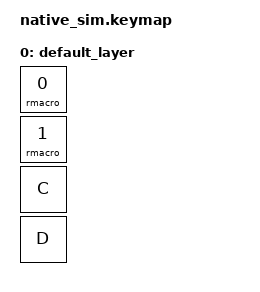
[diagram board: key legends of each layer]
#include <dt-bindings/zmk/keys.h>
#include <behaviors.dtsi>
#include <behaviors/runtime_macro.dtsi>
#include <dt-bindings/zmk/kscan_mock.h>

/ {
	runtime_macro_defaults {
		rmacro_default_1 {
			compatible = "cormoran,runtime-macro-default";
			slot = <1>;
			display-name = "DT Default";
			text = "hi";
		};
	};

	keymap {
		compatible = "zmk,keymap";

		default_layer {
			bindings = <
			&rmacro 0
			&rmacro 1
			&kp C
			&kp D
			>;
		};
	};
};

&kscan {
	events = <
	ZMK_MOCK_PRESS(0,0,10)
	ZMK_MOCK_RELEASE(0,0,10)
	ZMK_MOCK_PRESS(0,1,10)
	ZMK_MOCK_RELEASE(0,1,10)
	>;
};
